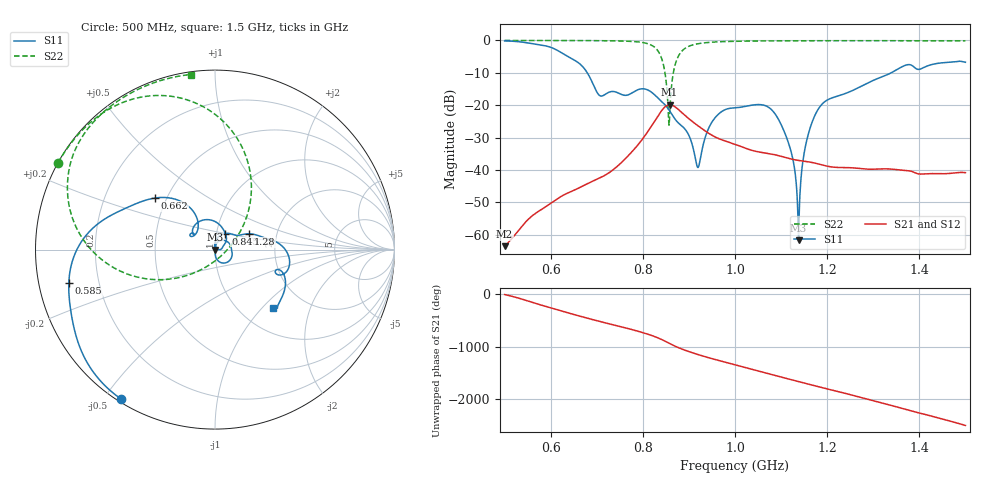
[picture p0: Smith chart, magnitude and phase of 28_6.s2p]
! TOUCHSTONE file generated by CST MICROWAVE STUDIO
! Date and time: Sat Oct 24 11:48:04 2020
! Project name: Scenario_1_Circular_Tissue_out_of_Line.cst
! Parameters = {dy1=122.207; L_HA=400; MT=2.54; Rad_Dielectric=30; Rad_Lower=7.3; Rad_Upper=30; a_HA=580; a_WG=246; b_HA=500; b_WG=121; c_HA=0; c_WG=187; d_feed=85; dx1=1039; h_feed=15; h_lower=18; h_upper=40}
! Header version: 2018
! Port assignment regex: !\s*Touchstone port\s*([0-9]+)\s*=\s*(CST MWS port|CST DS port)\s*([0-9]+|Zmin|Zmax)\s*\(\"(.*)\"\)(\s*mode\s*([0-9]+))?.*
! Touchstone port assignment:
! Touchstone port 1 = CST MWS port 1 ("")
! Touchstone port 2 = CST MWS port 2 ("")
# GHz S DB R 50
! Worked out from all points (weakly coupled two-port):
!   1001 points, 500 MHz to 1.5 GHz, reference 50 ohm
!   highest |S21| = -19.88 dB at 858 MHz (marker M1); lowest = -63.5 dB at 500 MHz (marker M2)
!   lowest |S11| = -61.7 dB at 1.138 GHz (marker M3), VSWR 1.00, Z = 49.9 + j0.0106 ohm
!   |S11| at or under -10 dB: 679.4 MHz to 1.339 GHz (659.5 MHz wide, 65.4 % of centre)
!   |S22| runs from -26.2 to 0.0 dB; largest |S21 - S12| = 1.4e-05
!   S11 on the Smith chart (normalised r, x): 500 MHz: 0.01, -0.55; 585 MHz: 0.09, -0.11; 662 MHz: 0.43, +0.31; 845 MHz: 1.10, +0.20; 1.28 GHz: 1.43, +0.26; 1.5 GHz: 1.40, -1.16
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0.5  -0.15 -122.2  -63.54 -3.9  -63.54 -3.9  -0.01 151.1
0.585  -1.56 -167.0  -51.74 141.2  -51.74 141.2  -0.02 145.2
0.662  -7.10 139.4  -45.52 -52.0  -45.52 -52.0  -0.04 138.8
0.667  -7.73 134.9  -45.16 -63.8  -45.16 -63.8  -0.04 138.3
0.708  -17.15 138.4  -42.37 -159.5  -42.37 -159.5  -0.07 133.8
0.788  -15.29 134.8  -32.47 21.2  -32.47 21.2  -0.44 117.5
0.834  -17.94 70.9  -23.05 -113.3  -23.05 -113.3  -3.49 82.0
0.845  -19.44 57.2  -20.95 -157.4  -20.95 -157.4  -7.71 60.5
0.858  -21.70 39.9  -19.88 144.4  -19.88 144.4  -23.87 -90.9
0.876  -25.33 26.6  -21.20 69.5  -21.20 69.5  -5.18 -168.0
0.919  -39.22 33.7  -26.29 -64.2  -26.29 -64.2  -1.04 157.9
0.952  -24.78 59.5  -29.45 -148.8  -29.45 -148.8  -0.52 148.3
1  -20.83 5.9  -32.06 96.8  -32.06 96.8  -0.27 140.1
1.089  -23.11 -71.9  -35.38 -108.8  -35.38 -108.8  -0.13 130.6
1.121  -33.97 -86.7  -36.60 177.8  -36.60 177.8  -0.11 127.9
1.138  -61.69 172.6  -37.07 140.1  -37.07 140.1  -0.10 126.5
1.15  -34.84 96.9  -37.30 113.1  -37.30 113.1  -0.10 125.5
1.167  -25.37 83.9  -37.69 74.0  -37.69 74.0  -0.10 124.2
1.196  -18.79 52.2  -38.71 8.7  -38.71 8.7  -0.09 121.9
1.28  -13.71 25.2  -39.69 -177.7  -39.69 -177.7  -0.08 115.5
1.334  -10.35 11.3  -39.68 57.6  -39.69 57.6  -0.09 111.4
1.5  -6.74 -45.4  -40.84 24.2  -40.84 24.2  -0.13 97.8
